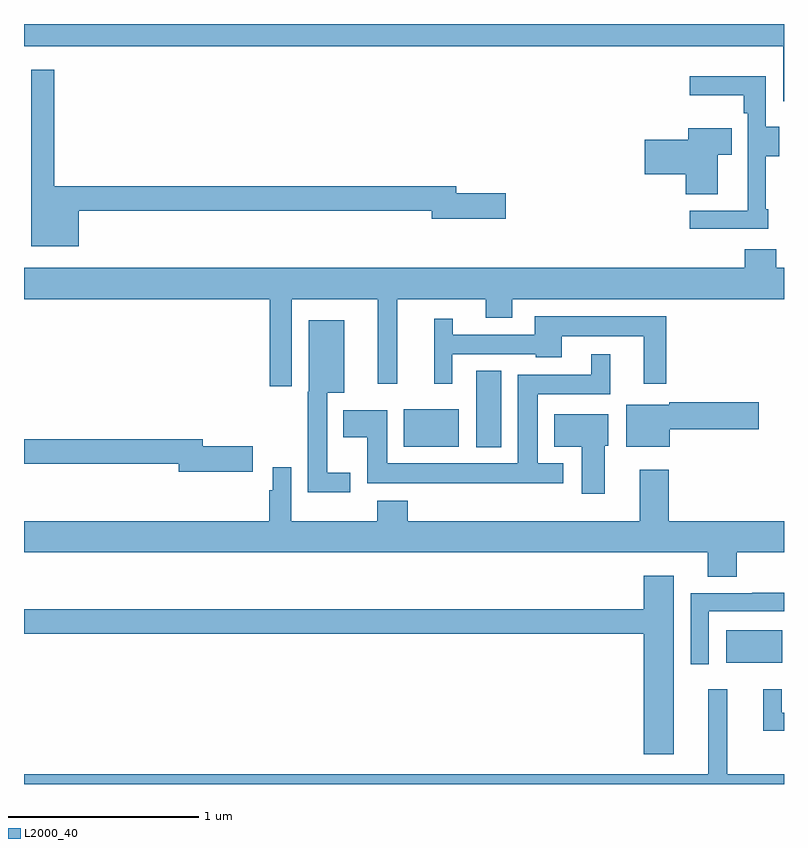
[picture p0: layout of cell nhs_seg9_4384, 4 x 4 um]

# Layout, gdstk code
import gdstk
lib = gdstk.Library(unit=1e-6, precision=1e-09)
def R(c, l, rs):  # rectangles x0, y0, x1, y1
    for r in rs: c.add(gdstk.rectangle(r[:2], r[2:], *l))
def P(c, l, *ps):  # polygons
    for p in ps: c.add(gdstk.Polygon(p, *l))
L2000_40 = (2000, 40)

nhs_seg9_4384 = lib.new_cell('nhs_seg9_4384')
R(nhs_seg9_4384, L2000_40, [(364.697,1229.138,364.99,1229.308), (363.38,1230.272,363.511,1230.676), (362.999,1230.275,363.289,1230.472)])
P(nhs_seg9_4384, L2000_40, [(365,1232.5),(361,1232.5),(361,1232.384),(364.995,1232.384),(364.995,1232.094),(365,1232.094)],
  [(361.288,1231.518),(363.146,1231.518),(363.146,1231.475),(363.535,1231.475),(363.535,1231.61),(363.274,1231.61),(363.274,1231.646),(361.159,1231.646),(361.159,1232.26),(361.037,1232.26),(361.037,1231.331),(361.288,1231.331)],
  [(364.918,1231.525),(364.905,1231.525),(364.905,1231.804),(364.975,1231.804),(364.975,1231.959),(364.905,1231.959),(364.905,1232.224),(364.503,1232.224),(364.503,1232.126),(364.789,1232.126),(364.789,1232.03),(364.809,1232.03),(364.809,1231.715),(364.808,1231.715),(364.808,1231.518),(364.503,1231.518),(364.503,1231.422),(364.918,1231.422)],
  [(364.651,1231.811),(364.724,1231.811),(364.724,1231.951),(364.496,1231.951),(364.496,1231.892),(364.266,1231.892),(364.266,1231.709),(364.484,1231.709),(364.484,1231.603),(364.651,1231.603)],
  [(362.408,1230.706),(362.409,1230.706),(362.409,1231.052),(362.861,1231.052),(362.861,1230.606),(362.965,1230.606),(362.965,1231.052),(363.431,1231.052),(363.431,1230.953),(363.571,1230.953),(363.571,1231.052),(365,1231.052),(365,1231.216),(364.958,1231.216),(364.958,1231.315),(364.793,1231.315),(364.793,1231.216),(361,1231.216),(361,1231.052),(362.293,1231.052),(362.293,1230.594),(362.408,1230.594)],
  [(363.255,1230.761),(363.693,1230.761),(363.693,1230.746),(363.829,1230.746),(363.829,1230.857),(364.262,1230.857),(364.262,1230.606),(364.379,1230.606),(364.379,1230.961),(363.689,1230.961),(363.689,1230.865),(363.256,1230.865),(363.256,1230.949),(363.158,1230.949),(363.158,1230.606),(363.255,1230.606)],
  [(362.716,1230.139),(362.595,1230.139),(362.595,1230.56),(362.686,1230.56),(362.686,1230.94),(362.498,1230.94),(362.498,1230.564),(362.494,1230.564),(362.494,1230.035),(362.716,1230.035)],
  [(363.838,1230.187),(363.703,1230.187),(363.703,1230.551),(364.085,1230.551),(364.085,1230.763),(363.986,1230.763),(363.986,1230.655),(363.599,1230.655),(363.599,1230.187),(362.911,1230.187),(362.911,1230.466),(362.68,1230.466),(362.68,1230.326),(362.807,1230.326),(362.807,1230.083),(363.838,1230.083)],
  [(364.399,1230.367),(364.867,1230.367),(364.867,1230.509),(364.395,1230.509),(364.395,1230.496),(364.169,1230.496),(364.169,1230.275),(364.399,1230.275)],
  [(364.057,1230.279),(364.075,1230.279),(364.075,1230.445),(363.791,1230.445),(363.791,1230.275),(363.935,1230.275),(363.935,1230.027),(364.057,1230.027)],
  [(362.203,1230.278),(361.942,1230.278),(361.942,1230.314),(361,1230.314),(361,1230.186),(361.814,1230.186),(361.814,1230.143),(362.203,1230.143)],
  [(364.751,1229.72),(365,1229.72),(365,1229.884),(364.394,1229.884),(364.394,1230.154),(364.241,1230.154),(364.241,1229.884),(363.02,1229.884),(363.02,1229.992),(362.86,1229.992),(362.86,1229.884),(362.406,1229.884),(362.406,1230.166),(362.31,1230.166),(362.31,1230.047),(362.29,1230.047),(362.29,1229.884),(361,1229.884),(361,1229.72),(364.598,1229.72),(364.598,1229.59),(364.751,1229.59)],
  [(364.42,1229.596),(364.262,1229.596),(364.262,1229.419),(361,1229.419),(361,1229.29),(364.262,1229.29),(364.262,1228.656),(364.42,1228.656)],
  [(364.605,1229.409),(365,1229.409),(365,1229.507),(364.834,1229.507),(364.834,1229.505),(364.509,1229.505),(364.509,1229.13),(364.605,1229.13)],
  [(365,1228.875),(364.989,1228.875),(364.989,1228.999),(364.892,1228.999),(364.892,1228.779),(365,1228.779)],
  [(365,1228.552),(364.7,1228.552),(364.7,1228.999),(364.601,1228.999),(364.601,1228.552),(361,1228.552),(361,1228.5),(365,1228.5)])

lib.write_gds('nhs_seg9_4384.gds')
